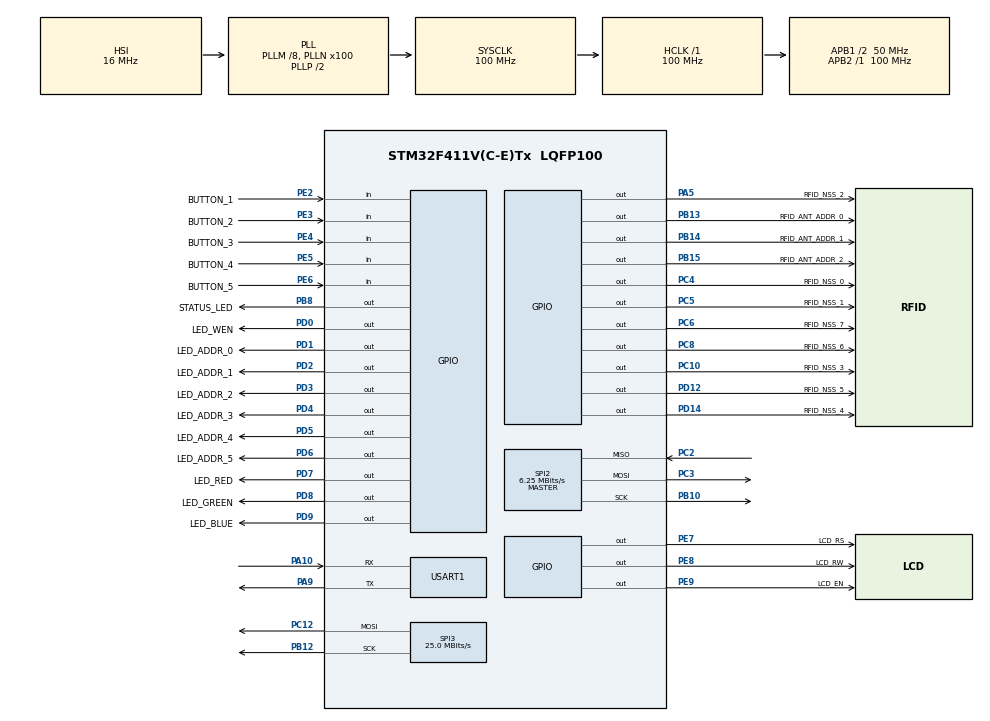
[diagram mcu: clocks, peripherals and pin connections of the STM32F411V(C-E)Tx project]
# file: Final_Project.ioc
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Mcu.Family=STM32F4
Mcu.Name=STM32F411V(C-E)Tx
Mcu.Package=LQFP100
NVIC.PriorityGroup=NVIC_PRIORITYGROUP_4
NVIC.SPI2_IRQn=true\:0\:0\:false\:false\:true\:true
NVIC.SPI3_IRQn=true\:0\:0\:false\:false\:true\:true
NVIC.TIM4_IRQn=true\:0\:0\:false\:false\:true\:true
NVIC.USART1_IRQn=true\:0\:0\:false\:false\:true\:true
PA10.Mode=Asynchronous
PA10.Signal=USART1_RX
PA5.GPIO_Label=RFID_NSS_2
PA5.Signal=GPIO_Output
PA9.Mode=Asynchronous
PA9.Signal=USART1_TX
PB10.Mode=Full_Duplex_Master
PB10.Signal=SPI2_SCK
PB12.Mode=TX_Only_Simplex_Unidirect_Master
PB12.Signal=SPI3_SCK
PB13.GPIO_Label=RFID_ANT_ADDR_0
PB13.Signal=GPIO_Output
PB14.GPIO_Label=RFID_ANT_ADDR_1
PB14.Signal=GPIO_Output
PB15.GPIO_Label=RFID_ANT_ADDR_2
PB15.Signal=GPIO_Output
PB8.GPIO_Label=STATUS_LED
PB8.PinState=GPIO_PIN_SET
PB8.Signal=GPIO_Output
PC10.GPIO_Label=RFID_NSS_3
PC10.Signal=GPIO_Output
PC12.Mode=TX_Only_Simplex_Unidirect_Master
PC12.Signal=SPI3_MOSI
PC2.Mode=Full_Duplex_Master
PC2.Signal=SPI2_MISO
PC3.Mode=Full_Duplex_Master
PC3.Signal=SPI2_MOSI
PC4.GPIO_Label=RFID_NSS_0
PC4.Signal=GPIO_Output
PC5.GPIO_Label=RFID_NSS_1
PC5.Signal=GPIO_Output
PC6.GPIO_Label=RFID_NSS_7
PC6.Signal=GPIO_Output
PC8.GPIO_Label=RFID_NSS_6
PC8.Signal=GPIO_Output
PD0.GPIO_Label=LED_WEN
PD0.Signal=GPIO_Output
PD1.GPIO_Label=LED_ADDR_0
PD1.Signal=GPIO_Output
PD12.GPIO_Label=RFID_NSS_5
PD12.Signal=GPIO_Output
PD14.GPIO_Label=RFID_NSS_4
PD14.Signal=GPIO_Output
PD2.GPIO_Label=LED_ADDR_1
PD2.Signal=GPIO_Output
PD3.GPIO_Label=LED_ADDR_2
PD3.Signal=GPIO_Output
PD4.GPIO_Label=LED_ADDR_3
PD4.Signal=GPIO_Output
PD5.GPIO_Label=LED_ADDR_4
PD5.Signal=GPIO_Output
PD6.GPIO_Label=LED_ADDR_5
PD6.Signal=GPIO_Output
PD7.GPIO_Label=LED_RED
PD7.Signal=GPIO_Output
PD8.GPIO_Label=LED_GREEN
PD8.Signal=GPIO_Output
PD9.GPIO_Label=LED_BLUE
PD9.Signal=GPIO_Output
PE2.GPIO_Label=BUTTON_1
PE2.GPIO_Mode=GPIO_MODE_INPUT
PE2.GPIO_PuPd=GPIO_PULLUP
PE2.Signal=GPIO_Input
PE3.GPIO_Label=BUTTON_2
PE3.GPIO_Mode=GPIO_MODE_INPUT
PE3.GPIO_PuPd=GPIO_PULLUP
PE3.Signal=GPIO_Input
PE4.GPIO_Label=BUTTON_3
PE4.GPIO_Mode=GPIO_MODE_INPUT
PE4.GPIO_PuPd=GPIO_PULLUP
PE4.Signal=GPIO_Input
PE5.GPIO_Label=BUTTON_4
PE5.GPIO_Mode=GPIO_MODE_INPUT
PE5.GPIO_PuPd=GPIO_PULLUP
PE5.Signal=GPIO_Input
PE6.GPIO_Label=BUTTON_5
PE6.GPIO_Mode=GPIO_MODE_INPUT
PE6.GPIO_PuPd=GPIO_PULLUP
PE6.Signal=GPIO_Input
PE7.GPIO_Label=LCD_RS
PE7.PinState=GPIO_PIN_SET
PE7.Signal=GPIO_Output
PE8.GPIO_Label=LCD_RW
PE8.PinState=GPIO_PIN_SET
PE8.Signal=GPIO_Output
PE9.GPIO_Label=LCD_EN
PE9.PinState=GPIO_PIN_SET
PE9.Signal=GPIO_Output
ProjectManager.HeapSize=0x200
ProjectManager.StackSize=0x400
ProjectManager.TargetToolchain=SW4STM32
RCC.48MHZClocksFreq_Value=50000000
RCC.AHBFreq_Value=100000000
RCC.APB1CLKDivider=RCC_HCLK_DIV2
RCC.APB1Freq_Value=50000000
RCC.APB1TimFreq_Value=100000000
RCC.APB2Freq_Value=100000000
RCC.APB2TimFreq_Value=100000000
RCC.CortexFreq_Value=100000000
RCC.HCLKFreq_Value=100000000
RCC.HSE_VALUE=25000000
RCC.HSI_VALUE=16000000
RCC.LSE_VALUE=32768
RCC.PLLM=8
RCC.PLLN=100
RCC.SYSCLKFreq_VALUE=100000000
RCC.SYSCLKSource=RCC_SYSCLKSOURCE_PLLCLK
RCC.VCOOutputFreq_Value=200000000
SPI2.BaudRatePrescaler=SPI_BAUDRATEPRESCALER_8
SPI2.CalculateBaudRate=6.25 MBits/s
SPI2.Direction=SPI_DIRECTION_2LINES
SPI2.Mode=SPI_MODE_MASTER
SPI2.VirtualType=VM_MASTER
SPI3.BaudRatePrescaler=SPI_BAUDRATEPRESCALER_2
SPI3.CalculateBaudRate=25.0 MBits/s
SPI3.Direction=SPI_DIRECTION_2LINES
SPI3.FirstBit=SPI_FIRSTBIT_MSB
SPI3.Mode=SPI_MODE_MASTER
SPI3.VirtualType=VM_MASTER
TIM4.Period=1000
TIM4.Prescaler=10000
USART1.VirtualMode=VM_ASYNC
VP_RTC_VS_RTC_Activate.Mode=RTC_Enabled
VP_TIM4_VS_ClockSourceINT.Mode=Internal
board=custom

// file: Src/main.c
/* USER CODE BEGIN Header */
/*   MIT License
*
*    Copyright (c) 2019 Timothy Pansino, Adam Behnke, Zachary Neumann, Mitchell Keeney
*
*    Permission is hereby granted, free of charge, to any person obtaining a copy
*    of this software and associated documentation files (the "Software"), to deal
*    in the Software without restriction, including without limitation the rights
*    to use, copy, modify, merge, publish, distribute, sublicense, and/or sell
*    copies of the Software, and to permit persons to whom the Software is
*    furnished to do so, subject to the following conditions:
*
*    The above copyright notice and this permission notice shall be included in all
*    copies or substantial portions of the Software.
*
*    THE SOFTWARE IS PROVIDED "AS IS", WITHOUT WARRANTY OF ANY KIND, EXPRESS OR
*    IMPLIED, INCLUDING BUT NOT LIMITED TO THE WARRANTIES OF MERCHANTABILITY,
*    FITNESS FOR A PARTICULAR PURPOSE AND NONINFRINGEMENT. IN NO EVENT SHALL THE
*    AUTHORS OR COPYRIGHT HOLDERS BE LIABLE FOR ANY CLAIM, DAMAGES OR OTHER
*    LIABILITY, WHETHER IN AN ACTION OF CONTRACT, TORT OR OTHERWISE, ARISING FROM,
*    OUT OF OR IN CONNECTION WITH THE SOFTWARE OR THE USE OR OTHER DEALINGS IN THE
*    SOFTWARE.
*/
/**
  ******************************************************************************
  * @file           : main.c
  * @brief          : Main program body
  ******************************************************************************
  ** This notice applies to any and all portions of this file
  * that are not between comment pairs USER CODE BEGIN and
  * USER CODE END. Other portions of this file, whether
  * inserted by the user or by software development tools
  * are owned by their respective copyright owners.
  *
  * COPYRIGHT(c) 2019 STMicroelectronics
  *
  * Redistribution and use in source and binary forms, with or without modification,
  * are permitted provided that the following conditions are met:
  *   1. Redistributions of source code must retain the above copyright notice,
  *      this list of conditions and the following disclaimer.
  *   2. Redistributions in binary form must reproduce the above copyright notice,
  *      this list of conditions and the following disclaimer in the documentation
  *      and/or other materials provided with the distribution.
  *   3. Neither the name of STMicroelectronics nor the names of its contributors
  *      may be used to endorse or promote products derived from this software
  *      without specific prior written permission.
  *
  * THIS SOFTWARE IS PROVIDED BY THE COPYRIGHT HOLDERS AND CONTRIBUTORS "AS IS"
  * AND ANY EXPRESS OR IMPLIED WARRANTIES, INCLUDING, BUT NOT LIMITED TO, THE
  * IMPLIED WARRANTIES OF MERCHANTABILITY AND FITNESS FOR A PARTICULAR PURPOSE ARE
  * DISCLAIMED. IN NO EVENT SHALL THE COPYRIGHT HOLDER OR CONTRIBUTORS BE LIABLE
  * FOR ANY DIRECT, INDIRECT, INCIDENTAL, SPECIAL, EXEMPLARY, OR CONSEQUENTIAL
  * DAMAGES (INCLUDING, BUT NOT LIMITED TO, PROCUREMENT OF SUBSTITUTE GOODS OR
  * SERVICES; LOSS OF USE, DATA, OR PROFITS; OR BUSINESS INTERRUPTION) HOWEVER
  * CAUSED AND ON ANY THEORY OF LIABILITY, WHETHER IN CONTRACT, STRICT LIABILITY,
  * OR TORT (INCLUDING NEGLIGENCE OR OTHERWISE) ARISING IN ANY WAY OUT OF THE USE
  * OF THIS SOFTWARE, EVEN IF ADVISED OF THE POSSIBILITY OF SUCH DAMAGE.
  *
  ******************************************************************************
  */
/* USER CODE END Header */

#include "main.h"

/* USER CODE BEGIN Includes */
#include <stdarg.h>
#include <string.h>
#include "mfrc630.h"
#include "mfrc630_def.h"

#include "pieces.h"
#include "chess.h"
#include "micro.h"
#include "debug.h"
#include "drivers.h"

#include "ai.h"
#include "defs.h"
#include "protos.h"
#include "data.h"
/* USER CODE END Includes */

/* USER CODE BEGIN PD */

// Handles
#define		RFID_SPI_HANDLE             hspi2
#define		LCD_SPI_HANDLE              hspi3
#define 	UART_HANDLE                 huart1
#define 	TIMER_HANDLE                htim4

// Pins
#define     STATUS_LED                  GPIOB, 	   GPIO_PIN_8
#define     BUTTON_1                    GPIOE,     GPIO_PIN_2
#define     BUTTON_2                    GPIOE,     GPIO_PIN_3
#define     BUTTON_3                    GPIOE,     GPIO_PIN_4
#define     BUTTON_4                    GPIOE,     GPIO_PIN_5
#define     BUTTON_5                    GPIOE,     GPIO_PIN_6
#define     LCD_RS                      GPIOE,     GPIO_PIN_7
#define     LCD_RW                      GPIOE,     GPIO_PIN_8
#define     LCD_ENABLE                  GPIOE,     GPIO_PIN_9
#define     LED_ADDRESS_0               GPIOD,     GPIO_PIN_1
#define     LED_ADDRESS_1               GPIOD,     GPIO_PIN_2
#define     LED_ADDRESS_2               GPIOD,     GPIO_PIN_3
#define     LED_ADDRESS_3               GPIOD,     GPIO_PIN_4
#define     LED_ADDRESS_4               GPIOD,     GPIO_PIN_5
#define     LED_ADDRESS_5               GPIOD,     GPIO_PIN_6
#define     LED_BLUE                    GPIOD,     GPIO_PIN_9
#define     LED_GREEN                   GPIOD,     GPIO_PIN_8
#define     LED_RED                     GPIOD,     GPIO_PIN_7
#define     LED_ENABLE                  GPIOD,     GPIO_PIN_0
#define     RFID_ANTENNA_ADDRESS_0     	GPIOB,     GPIO_PIN_13
#define     RFID_ANTENNA_ADDRESS_1     	GPIOB,     GPIO_PIN_14
#define     RFID_ANTENNA_ADDRESS_2     	GPIOB,     GPIO_PIN_15
#define     RFID_SPI2_NSS_0             GPIOC,     GPIO_PIN_4
#define     RFID_SPI2_NSS_1             GPIOC,     GPIO_PIN_5
#define     RFID_SPI2_NSS_2             GPIOA, 	   GPIO_PIN_5
#define     RFID_SPI2_NSS_3             GPIOC, 	   GPIO_PIN_10
#define     RFID_SPI2_NSS_4             GPIOD,     GPIO_PIN_14
#define     RFID_SPI2_NSS_5             GPIOD,     GPIO_PIN_12
#define     RFID_SPI2_NSS_6             GPIOC,     GPIO_PIN_8
#define     RFID_SPI2_NSS_7             GPIOC,     GPIO_PIN_6

// Constants
#define 	  DISABLE_PRINT               1
#define		  LED_DEMO					  1
#define 	  SKIP_SETUP_HELP			  0

/* USER CODE END PD */

RTC_HandleTypeDef hrtc;

SPI_HandleTypeDef hspi2;
SPI_HandleTypeDef hspi3;

TIM_HandleTypeDef htim4;

UART_HandleTypeDef huart1;

/* USER CODE BEGIN PV */
// UART variables
char receiveBuffer[100];
char transmitBuffer[100];
int dataReceivedFlag = 0;
uint8_t receivedData = 0;
int currentLocation = 0;
char* hello_world = "Hello World!\n";
char* newlineStr = NEWLINE_STR;
char* backSpace = BACKSPACE_STR;
char prevMove[100];

// Chess variables
int rfidReaderAddress = 0;
int rfidAntennaAddress = 0;
C colors;
B curBoard;
B prevBoard;
B prevAIBoard;
M curMoves;
Move curMove;
Piece tempPiece;
int check = 0;
int status = 10;
int curSide = White;
int aiSide = 0;
int curTime = 0;
int aiMovedFlag = 0;
char aiMove[10];

// Buttons
int prevButton[5] = {0};
int curButton[5] = {0};
int buttonFlag[5] = {0};
int resetFlag = 1;

// LCD Menus
char* playerMenu[] = {" Select Players ", "1 Player", "2 Player"};
char* sideMenu[] = {"Select Your Side", "White", "Black"};
char* pawnPromoteMenu[] = {"Promote Pawn", "Queen", "Knight", "Rook", "Bishop"};

/* USER CODE END PV */

void SystemClock_Config(void);
static void MX_GPIO_Init(void);
static void MX_RTC_Init(void);
static void MX_USART1_UART_Init(void);
static void MX_SPI3_Init(void);
static void MX_SPI2_Init(void);
static void MX_TIM4_Init(void);
/* USER CODE BEGIN PFP */
void HAL_UART_RxCpltCallback(UART_HandleTypeDef * huart);
char * receiveString(void);
void transmitString(char *);
static void writeLCDMessage(char* lcd_upr, char* lcd_low);
static void writeLCDInstruction(uint8_t instru);
void LCDInit(void);
void RFIDInit(void);
void LEDInit(void);
void buttonInit(void);
void chessInit(char aiSide);
int chessMain(void);
void mainMenu(void);
int checkButtons(void);
void moveToLCD(void);
void moveStrToLCD(char* s);
void strToMenu(char* s, char* d);
void boardSetup(void);
/* USER CODE END PFP */

int main(void)
{

  /* MCU Configuration--------------------------------------------------------*/

  /* Reset of all peripherals, Initializes the Flash interface and the Systick. */
  HAL_Init();

  /* Configure the system clock */
  SystemClock_Config();

  /* Initialize all configured peripherals */
  MX_GPIO_Init();
  MX_RTC_Init();
  MX_USART1_UART_Init();
  MX_SPI3_Init();
  MX_SPI2_Init();
  MX_TIM4_Init();
  /* USER CODE BEGIN 2 */
  HAL_Delay(1000);

	// Initialize Pins
	HAL_GPIO_WritePin(STATUS_LED, 0);
	HAL_GPIO_WritePin(RFID_SPI2_NSS_0, 1);
	HAL_GPIO_WritePin(RFID_SPI2_NSS_1, 1);
	HAL_GPIO_WritePin(RFID_SPI2_NSS_2, 1);
	HAL_GPIO_WritePin(RFID_SPI2_NSS_3, 1);
	HAL_GPIO_WritePin(RFID_SPI2_NSS_4, 1);
	HAL_GPIO_WritePin(RFID_SPI2_NSS_5, 1);
	HAL_GPIO_WritePin(RFID_SPI2_NSS_6, 1);
	HAL_GPIO_WritePin(RFID_SPI2_NSS_7, 1);

	// Init Uart
	Print(CLEAR_TERMINAL);
	Print("UART Initialized.\n");

	// Init Buttons
	buttonInit();
	Print("Buttons Initialized.\n");

	// Init LCD
	LCDInit();
	Print("LCD Initialized\n");

	// Setup RFID Readers
	RFIDInit();
	Print("RFID Readers Initialized\n");

	// Setup LEDs
	LEDInit();
	Print("LEDs Initialized\n");

	// Chess Initialization
	chessInit(0);
	Print("Chess Control and AI Initialized.\n");

	// Setup Board State
	blankBoard(curBoard);

	// Start Timer
	HAL_TIM_Base_Start_IT(&TIMER_HANDLE);

  /* USER CODE END 2 */

  /* Infinite loop */
		while (1)
		{

    /* USER CODE BEGIN 3 */
		if (resetFlag) {
			resetFlag = 0;
			blankColors(colors);
			updateColors(colors);

			mainMenu();
			buttonInit();
			boardSetup();
			moveToLCD();
		}

		// Main Loop
		RFIDInit();
		Print("Beginning Scan...\n");
		HAL_GPIO_WritePin(STATUS_LED, 1);
		updateBoard(curBoard);
		HAL_GPIO_WritePin(STATUS_LED, 0);
		Print("Scan Complete.\n");
		Print(CLEAR_TERMINAL);
		printBoard(curBoard);
		chessMain();
		printColors(colors);
		updateColors(colors);
  }
  /* USER CODE END 3 */
}

void SystemClock_Config(void)
{
  RCC_OscInitTypeDef RCC_OscInitStruct = {0};
  RCC_ClkInitTypeDef RCC_ClkInitStruct = {0};
  RCC_PeriphCLKInitTypeDef PeriphClkInitStruct = {0};

  /**Configure the main internal regulator output voltage
  */
  __HAL_RCC_PWR_CLK_ENABLE();
  __HAL_PWR_VOLTAGESCALING_CONFIG(PWR_REGULATOR_VOLTAGE_SCALE1);
  /**Initializes the CPU, AHB and APB busses clocks
  */
  RCC_OscInitStruct.OscillatorType = RCC_OSCILLATORTYPE_HSI|RCC_OSCILLATORTYPE_LSI;
  RCC_OscInitStruct.HSIState = RCC_HSI_ON;
  RCC_OscInitStruct.HSICalibrationValue = RCC_HSICALIBRATION_DEFAULT;
  RCC_OscInitStruct.LSIState = RCC_LSI_ON;
  RCC_OscInitStruct.PLL.PLLState = RCC_PLL_ON;
  RCC_OscInitStruct.PLL.PLLSource = RCC_PLLSOURCE_HSI;
  RCC_OscInitStruct.PLL.PLLM = 8;
  RCC_OscInitStruct.PLL.PLLN = 100;
  RCC_OscInitStruct.PLL.PLLP = RCC_PLLP_DIV2;
  RCC_OscInitStruct.PLL.PLLQ = 4;
  if (HAL_RCC_OscConfig(&RCC_OscInitStruct) != HAL_OK)
  {
    Error_Handler();
  }
  /**Initializes the CPU, AHB and APB busses clocks
  */
  RCC_ClkInitStruct.ClockType = RCC_CLOCKTYPE_HCLK|RCC_CLOCKTYPE_SYSCLK
                              |RCC_CLOCKTYPE_PCLK1|RCC_CLOCKTYPE_PCLK2;
  RCC_ClkInitStruct.SYSCLKSource = RCC_SYSCLKSOURCE_PLLCLK;
  RCC_ClkInitStruct.AHBCLKDivider = RCC_SYSCLK_DIV1;
  RCC_ClkInitStruct.APB1CLKDivider = RCC_HCLK_DIV2;
  RCC_ClkInitStruct.APB2CLKDivider = RCC_HCLK_DIV1;

  if (HAL_RCC_ClockConfig(&RCC_ClkInitStruct, FLASH_LATENCY_3) != HAL_OK)
  {
    Error_Handler();
  }
  PeriphClkInitStruct.PeriphClockSelection = RCC_PERIPHCLK_RTC;
  PeriphClkInitStruct.RTCClockSelection = RCC_RTCCLKSOURCE_LSI;
  if (HAL_RCCEx_PeriphCLKConfig(&PeriphClkInitStruct) != HAL_OK)
  {
    Error_Handler();
  }
}

static void MX_RTC_Init(void)
{

  /**Initialize RTC Only
  */
  hrtc.Instance = RTC;
  hrtc.Init.HourFormat = RTC_HOURFORMAT_24;
  hrtc.Init.AsynchPrediv = 127;
  hrtc.Init.SynchPrediv = 255;
  hrtc.Init.OutPut = RTC_OUTPUT_DISABLE;
  hrtc.Init.OutPutPolarity = RTC_OUTPUT_POLARITY_HIGH;
  hrtc.Init.OutPutType = RTC_OUTPUT_TYPE_OPENDRAIN;
  if (HAL_RTC_Init(&hrtc) != HAL_OK)
  {
    Error_Handler();
  }

}

static void MX_SPI2_Init(void)
{

  /* SPI2 parameter configuration*/
  hspi2.Instance = SPI2;
  hspi2.Init.Mode = SPI_MODE_MASTER;
  hspi2.Init.Direction = SPI_DIRECTION_2LINES;
  hspi2.Init.DataSize = SPI_DATASIZE_8BIT;
  hspi2.Init.CLKPolarity = SPI_POLARITY_LOW;
  hspi2.Init.CLKPhase = SPI_PHASE_1EDGE;
  hspi2.Init.NSS = SPI_NSS_SOFT;
  hspi2.Init.BaudRatePrescaler = SPI_BAUDRATEPRESCALER_8;
  hspi2.Init.FirstBit = SPI_FIRSTBIT_MSB;
  hspi2.Init.TIMode = SPI_TIMODE_DISABLE;
  hspi2.Init.CRCCalculation = SPI_CRCCALCULATION_DISABLE;
  hspi2.Init.CRCPolynomial = 10;
  if (HAL_SPI_Init(&hspi2) != HAL_OK)
  {
    Error_Handler();
  }

}

static void MX_SPI3_Init(void)
{

  /* SPI3 parameter configuration*/
  hspi3.Instance = SPI3;
  hspi3.Init.Mode = SPI_MODE_MASTER;
  hspi3.Init.Direction = SPI_DIRECTION_2LINES;
  hspi3.Init.DataSize = SPI_DATASIZE_8BIT;
  hspi3.Init.CLKPolarity = SPI_POLARITY_LOW;
  hspi3.Init.CLKPhase = SPI_PHASE_1EDGE;
  hspi3.Init.NSS = SPI_NSS_SOFT;
  hspi3.Init.BaudRatePrescaler = SPI_BAUDRATEPRESCALER_2;
  hspi3.Init.FirstBit = SPI_FIRSTBIT_MSB;
  hspi3.Init.TIMode = SPI_TIMODE_DISABLE;
  hspi3.Init.CRCCalculation = SPI_CRCCALCULATION_DISABLE;
  hspi3.Init.CRCPolynomial = 10;
  if (HAL_SPI_Init(&hspi3) != HAL_OK)
  {
    Error_Handler();
  }

}

static void MX_TIM4_Init(void)
{

  TIM_ClockConfigTypeDef sClockSourceConfig = {0};
  TIM_MasterConfigTypeDef sMasterConfig = {0};

  htim4.Instance = TIM4;
  htim4.Init.Prescaler = 10000;
  htim4.Init.CounterMode = TIM_COUNTERMODE_UP;
  htim4.Init.Period = 1000;
  htim4.Init.ClockDivision = TIM_CLOCKDIVISION_DIV1;
  if (HAL_TIM_Base_Init(&htim4) != HAL_OK)
  {
    Error_Handler();
  }
  sClockSourceConfig.ClockSource = TIM_CLOCKSOURCE_INTERNAL;
  if (HAL_TIM_ConfigClockSource(&htim4, &sClockSourceConfig) != HAL_OK)
  {
    Error_Handler();
  }
  sMasterConfig.MasterOutputTrigger = TIM_TRGO_RESET;
  sMasterConfig.MasterSlaveMode = TIM_MASTERSLAVEMODE_DISABLE;
  if (HAL_TIMEx_MasterConfigSynchronization(&htim4, &sMasterConfig) != HAL_OK)
  {
    Error_Handler();
  }

}

static void MX_USART1_UART_Init(void)
{

  huart1.Instance = USART1;
  huart1.Init.BaudRate = 115200;
  huart1.Init.WordLength = UART_WORDLENGTH_8B;
  huart1.Init.StopBits = UART_STOPBITS_1;
  huart1.Init.Parity = UART_PARITY_NONE;
  huart1.Init.Mode = UART_MODE_TX_RX;
  huart1.Init.HwFlowCtl = UART_HWCONTROL_NONE;
  huart1.Init.OverSampling = UART_OVERSAMPLING_16;
  if (HAL_UART_Init(&huart1) != HAL_OK)
  {
    Error_Handler();
  }

}

static void MX_GPIO_Init(void)
{
  GPIO_InitTypeDef GPIO_InitStruct = {0};

  /* GPIO Ports Clock Enable */
  __HAL_RCC_GPIOE_CLK_ENABLE();
  __HAL_RCC_GPIOC_CLK_ENABLE();
  __HAL_RCC_GPIOA_CLK_ENABLE();
  __HAL_RCC_GPIOB_CLK_ENABLE();
  __HAL_RCC_GPIOD_CLK_ENABLE();

  /*Configure GPIO pin Output Level */
  HAL_GPIO_WritePin(RFID_NSS_2_GPIO_Port, RFID_NSS_2_Pin, GPIO_PIN_RESET);

  /*Configure GPIO pin Output Level */
  HAL_GPIO_WritePin(GPIOC, RFID_NSS_0_Pin|RFID_NSS_1_Pin|RFID_NSS_7_Pin|RFID_NSS_6_Pin
                          |RFID_NSS_3_Pin, GPIO_PIN_RESET);

  /*Configure GPIO pin Output Level */
  HAL_GPIO_WritePin(GPIOE, LCD_RS_Pin|LCD_RW_Pin|LCD_EN_Pin, GPIO_PIN_SET);

  /*Configure GPIO pin Output Level */
  HAL_GPIO_WritePin(GPIOB, RFID_ANT_ADDR_0_Pin|RFID_ANT_ADDR_1_Pin|RFID_ANT_ADDR_2_Pin, GPIO_PIN_RESET);

  /*Configure GPIO pin Output Level */
  HAL_GPIO_WritePin(GPIOD, LED_GREEN_Pin|LED_BLUE_Pin|RFID_NSS_5_Pin|RFID_NSS_4_Pin
                          |LED_WEN_Pin|LED_ADDR_0_Pin|LED_ADDR_1_Pin|LED_ADDR_2_Pin
                          |LED_ADDR_3_Pin|LED_ADDR_4_Pin|LED_ADDR_5_Pin|LED_RED_Pin, GPIO_PIN_RESET);

  /*Configure GPIO pin Output Level */
  HAL_GPIO_WritePin(STATUS_LED_GPIO_Port, STATUS_LED_Pin, GPIO_PIN_SET);

  /*Configure GPIO pins : BUTTON_1_Pin BUTTON_2_Pin BUTTON_3_Pin BUTTON_4_Pin
                           BUTTON_5_Pin */
  GPIO_InitStruct.Pin = BUTTON_1_Pin|BUTTON_2_Pin|BUTTON_3_Pin|BUTTON_4_Pin
                          |BUTTON_5_Pin;
  GPIO_InitStruct.Mode = GPIO_MODE_INPUT;
  GPIO_InitStruct.Pull = GPIO_PULLUP;
  HAL_GPIO_Init(GPIOE, &GPIO_InitStruct);

  /*Configure GPIO pin : RFID_NSS_2_Pin */
  GPIO_InitStruct.Pin = RFID_NSS_2_Pin;
  GPIO_InitStruct.Mode = GPIO_MODE_OUTPUT_PP;
  GPIO_InitStruct.Pull = GPIO_NOPULL;
  GPIO_InitStruct.Speed = GPIO_SPEED_FREQ_LOW;
  HAL_GPIO_Init(RFID_NSS_2_GPIO_Port, &GPIO_InitStruct);

  /*Configure GPIO pins : RFID_NSS_0_Pin RFID_NSS_1_Pin RFID_NSS_7_Pin RFID_NSS_6_Pin
                           RFID_NSS_3_Pin */
  GPIO_InitStruct.Pin = RFID_NSS_0_Pin|RFID_NSS_1_Pin|RFID_NSS_7_Pin|RFID_NSS_6_Pin
                          |RFID_NSS_3_Pin;
  GPIO_InitStruct.Mode = GPIO_MODE_OUTPUT_PP;
  GPIO_InitStruct.Pull = GPIO_NOPULL;
  GPIO_InitStruct.Speed = GPIO_SPEED_FREQ_LOW;
  HAL_GPIO_Init(GPIOC, &GPIO_InitStruct);

  /*Configure GPIO pins : LCD_RS_Pin LCD_RW_Pin LCD_EN_Pin */
  GPIO_InitStruct.Pin = LCD_RS_Pin|LCD_RW_Pin|LCD_EN_Pin;
  GPIO_InitStruct.Mode = GPIO_MODE_OUTPUT_PP;
  GPIO_InitStruct.Pull = GPIO_NOPULL;
  GPIO_InitStruct.Speed = GPIO_SPEED_FREQ_LOW;
  HAL_GPIO_Init(GPIOE, &GPIO_InitStruct);

  /*Configure GPIO pins : RFID_ANT_ADDR_0_Pin RFID_ANT_ADDR_1_Pin RFID_ANT_ADDR_2_Pin STATUS_LED_Pin */
  GPIO_InitStruct.Pin = RFID_ANT_ADDR_0_Pin|RFID_ANT_ADDR_1_Pin|RFID_ANT_ADDR_2_Pin|STATUS_LED_Pin;
  GPIO_InitStruct.Mode = GPIO_MODE_OUTPUT_PP;
  GPIO_InitStruct.Pull = GPIO_NOPULL;
  GPIO_InitStruct.Speed = GPIO_SPEED_FREQ_LOW;
  HAL_GPIO_Init(GPIOB, &GPIO_InitStruct);

  /*Configure GPIO pins : LED_GREEN_Pin LED_BLUE_Pin RFID_NSS_5_Pin RFID_NSS_4_Pin
                           LED_WEN_Pin LED_ADDR_0_Pin LED_ADDR_1_Pin LED_ADDR_2_Pin
                           LED_ADDR_3_Pin LED_ADDR_4_Pin LED_ADDR_5_Pin LED_RED_Pin */
  GPIO_InitStruct.Pin = LED_GREEN_Pin|LED_BLUE_Pin|RFID_NSS_5_Pin|RFID_NSS_4_Pin
                          |LED_WEN_Pin|LED_ADDR_0_Pin|LED_ADDR_1_Pin|LED_ADDR_2_Pin
                          |LED_ADDR_3_Pin|LED_ADDR_4_Pin|LED_ADDR_5_Pin|LED_RED_Pin;
  GPIO_InitStruct.Mode = GPIO_MODE_OUTPUT_PP;
  GPIO_InitStruct.Pull = GPIO_NOPULL;
  GPIO_InitStruct.Speed = GPIO_SPEED_FREQ_LOW;
  HAL_GPIO_Init(GPIOD, &GPIO_InitStruct);

}

/* USER CODE BEGIN 4 */
void chessInit(char input) {
    char aiParam = 0;
    switch (input) {
    case White:
        aiParam = LIGHT;
        aiSide = Black;
        break;
    case Black:
        aiParam = DARK;
        aiSide = White;
        break;
    default:
        aiParam = EMPTY;
        aiSide = 0;
        break;
    }
    defaultBoard(curBoard);
    defaultBoard(prevBoard);
    blankColors(colors);
    aiInit(aiParam);
    curSide = White;
    for (int i = 0; i < 17; i++) prevMove[i] = '\0';
}

int chessMain(void) {
	blankColors(colors);

	Print("Side: %d\n", curSide);
	status = gameStatus(prevBoard, curSide);
	if (status == 2) {
      writeLCDMessage("   Stalemate    ", "  It's a draw.  ");
	  for (int j = 0; j < 4; j++) {
	    for (int i = 0; i < 8; i++) {
	      colors[i][j] = COLOR_RED;
	    }
	  }
	  for (int j = 4; j < 8; j++) {
	    for (int i = 0; i < 8; i++) {
	      colors[i][j] = COLOR_RED;
	    }
	  }
	  return status;
	}
	else if (status == 3) {
	  if (curSide == Black) {
		writeLCDMessage("   Checkmate    ", "  White Wins!   ");
	    for (int j = 0; j < 4; j++) {
	      for (int i = 0; i < 8; i++) {
	        colors[i][j] = COLOR_GREEN;
	      }
	    }
	    for (int j = 4; j < 8; j++) {
	      for (int i = 0; i < 8; i++) {
	        colors[i][j] = COLOR_RED;
	      }
	    }
	  }
	  else if (curSide == White) {
		writeLCDMessage("   Checkmate    ", "  Black Wins!   ");
	    for (int j = 0; j < 4; j++) {
	      for (int i = 0; i < 8; i++) {
	        colors[i][j] = COLOR_RED;
	      }
	    }
	    for (int j = 4; j < 8; j++) {
	      for (int i = 0; i < 8; i++) {
	        colors[i][j] = COLOR_GREEN;
	      }
	    }
	  }
		updateColors(colors);
		return status;
	}

    if (curSide == aiSide) { // AI Turn
        printTurn(curSide);
        if (aiMovedFlag) {
        	M diff1;
        	M diff2;
        	M diff3;

        	if (!diffBoards(curBoard, prevBoard, diff2)) {
				curSide = switchSide(curSide);
				aiMovedFlag = 0;
				blankColors(colors);
				//moveToLCD();
				moveStrToLCD(aiMove);
        	}
        	else {
            	diffBoards(prevAIBoard, prevBoard, diff1);
            	diffBoards(curBoard, prevAIBoard, diff3);
        		for (int j = 0; j < 8; j++) {
            		for (int i = 0; i < 8; i++) {
            			if (diff2[i][j] && diff1[i][j] && !diff3[i][j]) colors[i][j] = COLOR_ACCEPTED;
            			else if (diff2[i][j]) colors[i][j] = COLOR_ERROR;
            			else colors[i][j] = COLOR_OFF;
            		}
        		}
        	}
        }
        else {
        	aiMove[0] = '\0';
			aiMakeMove(aiMove);
			//Print("USER SIDE: %d\n", computer_side);
			if (strlen(aiMove) > 0) {
				Print("AI Move: %s\n", aiMove);
				strToMove(aiMove, &curMove);
				copyBoard(prevAIBoard, prevBoard);
				makeMove(prevBoard, curMove);
				if (aiMove[4] != '\0') { // Pawn promote
					if ((aiMove[4] >= 'a') && (aiMove[4] <= 'z')) aiMove[4] += 'A' - 'a';
					prevBoard[curMove.destCol][curMove.destRow].promotion = aiMove[4];
					aiMove[4] = '\0';
				}
				aiMovedFlag = 1;
				moveStrToLCD(aiMove);
			}
			else {
				Print("Error: AI Failed to move.\n");
			}
        }
    }
    else { // Player Turn
        printTurn(curSide);
		parseState(curBoard, prevBoard, curSide, colors, &curMove);
		if (buttonFlag[0] || buttonFlag[1]) {
			if (((buttonFlag[0]) && (curSide == White)) || ((buttonFlag[1]) && (curSide == Black))) {
				if (verifyMove(prevBoard, &curMove)) {
					char promo = '\0';

					makeMove(prevBoard, curMove);
					if (((curMove.destRow == 0) || (curMove.destRow == 7))) { // Pawn Promotion
						if ((prevBoard[curMove.destCol][curMove.destRow].type == 'P') && (prevBoard[curMove.destCol][curMove.destRow].promotion == 0)) {
							promo = pawnPromote();
							prevBoard[curMove.destCol][curMove.destRow].promotion = promo;
						}
					}

					moveToStr(&curMove, aiMove, promo);
					Print("%d\n", aiMove);
					aiParseCommand(aiMove);
					curSide = switchSide(curSide);
					moveStrToLCD(aiMove);
				}
			}

			buttonFlag[0] = 0;
			buttonFlag[1] = 0;
		}
    }

	status = gameStatus(prevBoard, curSide);
    return status;
}

void HAL_UART_RxCpltCallback(UART_HandleTypeDef * huart) {
    /* Move data into buffer */
    receiveBuffer[currentLocation] = receivedData;

    /* Variable to keep track of location in buffer */
    if (((char)receiveBuffer[currentLocation] == '\n') || ((char)receiveBuffer[currentLocation] == '\r')) {
        HAL_UART_Transmit(huart, (uint8_t*) newlineStr, 2, TIMEOUT);
        dataReceivedFlag = 1;
        receiveBuffer[currentLocation] = '\0';
        currentLocation = 0;
    }
    else if (((char)receiveBuffer[currentLocation] == 0x08) || ((char)receiveBuffer[currentLocation] == 0x7F)) {
    	if (currentLocation > 0) {
        	Print(backSpace);
        	receiveBuffer[currentLocation] = '\0';
    		currentLocation--;
    	}
    }
    else {
        HAL_UART_Transmit(huart, &receivedData, 1, TIMEOUT);
        currentLocation++;
    }
}

char * receiveString(void) {
    /* Listen for input; print back to screen when fully received */
    while (!dataReceivedFlag) {
        HAL_UART_Receive_IT(&UART_HANDLE, &receivedData, 1);
    }
    dataReceivedFlag = 0;
    return receiveBuffer;
}

void transmitString(char * s) {
	//int size = 0;
	int i;

	//while(s[size] != '\0') size++;
	for (i = 0; s[i] != '\0'; i++) {
		if (s[i] == '\n') {
			HAL_UART_Transmit(&UART_HANDLE, (uint8_t*) newlineStr, 2, TIMEOUT);
		}
		else if (s[i] != '\r' && s[i] != '\0') {
			HAL_UART_Transmit(&UART_HANDLE, (uint8_t*) &s[i], 1, TIMEOUT);
		}
	}

	return;
}

void Print(const char* format, ...) {
  va_list args;

  if (DISABLE_PRINT) return;
  va_start(args, format);
  vsprintf(transmitBuffer, format, args);
  transmitString(transmitBuffer);
  va_end(args);

  return;
}

void Scan(char* s) {
	receiveString();
	strcpy(s, receiveBuffer);

	return;
}

static void writeLCDMessage(char* lcd_upr, char* lcd_low) {
	int size;
	uint8_t x;

    // Fake Function
    Print(CLEAR_TERMINAL);
    Print(lcd_upr);
    Print("\n");
    Print(lcd_low);
    Print("\n");
    //return;

    // Start Real Function
    //writeLCDInstruction(LCDCLR);
    writeLCDInstruction(CURMOV);
    writeLCDInstruction(LINE1);
    HAL_GPIO_WritePin (LCD_RS, GPIO_PIN_SET);

    size = strlen(lcd_upr);
    for (int i = 0; i < 16; i++)
    {
    	if (i >= size) x = ' ';
    	else x = lcd_upr[i];

        HAL_SPI_Transmit (&LCD_SPI_HANDLE, &x, 1, TIMEOUT);
        while(HAL_SPI_GetState(&LCD_SPI_HANDLE) != HAL_SPI_STATE_READY);
        HAL_GPIO_WritePin (LCD_ENABLE, GPIO_PIN_RESET);
        HAL_Delay(1);
        HAL_GPIO_WritePin (LCD_ENABLE, GPIO_PIN_SET);
        HAL_Delay(1);
        HAL_GPIO_WritePin (LCD_ENABLE, GPIO_PIN_RESET);
    }
    writeLCDInstruction(CURMOV);
    writeLCDInstruction(LINE2);
    HAL_GPIO_WritePin (LCD_RS, GPIO_PIN_SET);

    size = strlen(lcd_low);
    for (int i = 0; i < 16; i++)
    {
    	if (i >= size) x = ' ';
    	else x = lcd_low[i];

        HAL_SPI_Transmit (&LCD_SPI_HANDLE, &x, 1, TIMEOUT);
        while(HAL_SPI_GetState(&LCD_SPI_HANDLE) != HAL_SPI_STATE_READY);
        HAL_GPIO_WritePin (LCD_ENABLE, GPIO_PIN_RESET);
        HAL_Delay(1);
        HAL_GPIO_WritePin (LCD_ENABLE, GPIO_PIN_SET);
        HAL_Delay(1);
        HAL_GPIO_WritePin (LCD_ENABLE, GPIO_PIN_RESET);
    }
}

static void writeLCDInstruction(uint8_t instru) {
    HAL_GPIO_WritePin (LCD_RS, GPIO_PIN_RESET);
    HAL_SPI_Transmit (&LCD_SPI_HANDLE, &instru, 1, TIMEOUT);
    while(HAL_SPI_GetState(&LCD_SPI_HANDLE) != HAL_SPI_STATE_READY);
    HAL_GPIO_WritePin (LCD_ENABLE, GPIO_PIN_RESET);
    HAL_Delay(1);
    HAL_GPIO_WritePin (LCD_ENABLE, GPIO_PIN_SET);
    HAL_Delay(1);
    HAL_GPIO_WritePin (LCD_ENABLE, GPIO_PIN_RESET);
}

void LCDInit(void) {
	HAL_GPIO_WritePin (LCD_RS, GPIO_PIN_RESET);
	HAL_GPIO_WritePin (LCD_RW, GPIO_PIN_RESET);
	HAL_GPIO_WritePin (LCD_ENABLE, GPIO_PIN_RESET);
	writeLCDInstruction(LCDON);
	HAL_Delay(4);
	writeLCDInstruction(TWOLINE);
	writeLCDInstruction(LCDCLR);

	writeLCDMessage("Booting...", "Enjoy the lights");
}

void mfrc630_SPI_transfer(uint8_t* tx, uint8_t* rx, uint16_t len){
  switch(HAL_SPI_TransmitReceive(&RFID_SPI_HANDLE, tx, rx, len, TIMEOUT)){
      case HAL_OK:
        //Print("SPI OK\n");
        break;
      case HAL_TIMEOUT:
        Print("Timeout\n");
        break;
      case HAL_ERROR:
        Print("SPI Error (No idea, good luck)\n");
        Error_Handler();
        break;
      default:
        break;
  }
}

void mfrc630_SPI_select(void) {
  // Unselect all pins first
  mfrc630_SPI_unselect();

  // Set reader NSS pin
  if (rfidReaderAddress == 0) {
	HAL_GPIO_WritePin(RFID_SPI2_NSS_0, 0);
  }
  else if (rfidReaderAddress == 1) {
	HAL_GPIO_WritePin(RFID_SPI2_NSS_1, 0);
  }
  else if (rfidReaderAddress == 2) {
	HAL_GPIO_WritePin(RFID_SPI2_NSS_2, 0);
  }
  else if (rfidReaderAddress == 3) {
	HAL_GPIO_WritePin(RFID_SPI2_NSS_3, 0);
  }
  else if (rfidReaderAddress == 4) {
	HAL_GPIO_WritePin(RFID_SPI2_NSS_4, 0);
  }
  else if (rfidReaderAddress == 5) {
	HAL_GPIO_WritePin(RFID_SPI2_NSS_5, 0);
  }
  else if (rfidReaderAddress == 6) {
	HAL_GPIO_WritePin(RFID_SPI2_NSS_6, 0);
  }
  else if (rfidReaderAddress == 7) {
	HAL_GPIO_WritePin(RFID_SPI2_NSS_7, 0);
  }
}

void antennaSelect(void) {
  // Set antenna address
  HAL_GPIO_WritePin(RFID_ANTENNA_ADDRESS_2, (rfidAntennaAddress >> 2) & 1);
  HAL_GPIO_WritePin(RFID_ANTENNA_ADDRESS_1, (rfidAntennaAddress >> 1) & 1);
  HAL_GPIO_WritePin(RFID_ANTENNA_ADDRESS_0, rfidAntennaAddress & 1);
  HAL_Delay(1);
}

void mfrc630_SPI_unselect(void) {
	// Unselect all readers
	HAL_GPIO_WritePin(RFID_SPI2_NSS_0, 1);
	HAL_GPIO_WritePin(RFID_SPI2_NSS_1, 1);
	HAL_GPIO_WritePin(RFID_SPI2_NSS_2, 1);
	HAL_GPIO_WritePin(RFID_SPI2_NSS_3, 1);
	HAL_GPIO_WritePin(RFID_SPI2_NSS_4, 1);
	HAL_GPIO_WritePin(RFID_SPI2_NSS_5, 1);
	HAL_GPIO_WritePin(RFID_SPI2_NSS_6, 1);
	HAL_GPIO_WritePin(RFID_SPI2_NSS_7, 1);
}

void RFIDInit(void) {
  // Antenna Address Default
  rfidAntennaAddress = 0;
  antennaSelect();

  // Set the registers of the MFRC630 into the default.
  for (rfidReaderAddress = 0; rfidReaderAddress < 8; rfidReaderAddress++) {
	  mfrc630_SPI_select();

	  mfrc630_AN1102_recommended_registers(MFRC630_PROTO_ISO14443A_106_MILLER_MANCHESTER);
	  mfrc630_write_reg(0x28, 0x8E);
	  mfrc630_write_reg(0x29, 0x15);
	  mfrc630_write_reg(0x2A, 0x11);
	  mfrc630_write_reg(0x2B, 0x06);

	  mfrc630_SPI_unselect();
	  // Delay slightly
	  HAL_Delay(1);
  }

  return;
}

void buttonInit(void) {
	for (int i = 0; i < 5; i++) {
		buttonFlag[i] = 0;
		curButton[i] = 0;
		prevButton[i] = 0;
	}

	return;
}

void updateLED(int ledAddress, char color) {
	color = ~color;

	// Disable first
	HAL_GPIO_WritePin(LED_ENABLE, 0);

	// Set color
	HAL_GPIO_WritePin(LED_RED, color & 1);
	HAL_GPIO_WritePin(LED_BLUE, (color >> 1) & 1);
	HAL_GPIO_WritePin(LED_GREEN, (color >> 2) & 1);

	// Set address
	HAL_GPIO_WritePin(LED_ADDRESS_0, ledAddress & 1);
	HAL_GPIO_WritePin(LED_ADDRESS_1, (ledAddress >> 1) & 1);
	HAL_GPIO_WritePin(LED_ADDRESS_2, (ledAddress >> 2) & 1);
	HAL_GPIO_WritePin(LED_ADDRESS_3, ((ledAddress >> 3) & 1) ^ 1);
	HAL_GPIO_WritePin(LED_ADDRESS_4, (ledAddress >> 4) & 1);
	HAL_GPIO_WritePin(LED_ADDRESS_5, (ledAddress >> 5) & 1);

	// Clock in
	HAL_GPIO_WritePin(LED_ENABLE, 1);
	HAL_GPIO_WritePin(LED_ENABLE, 0);
}

void LEDInit(void) {
	C colors;

	HAL_Delay(10);
	blankColors(colors);
	updateColors(colors);
	if (LED_DEMO) {
		for (int c = 0; c <= 8; c++) {
			for (int j = 0; j < 8; j++) {
				for (int i = 0; i < 8; i++) {
					colors[i][j] = c;
				}
				updateColors(colors);
			}
			HAL_Delay(500);
		}
		blankColors(colors);
		updateColors(colors);
	}

	return;
}

void HAL_TIM_PeriodElapsedCallback(TIM_HandleTypeDef *htim) {
    if (htim->Instance == TIMER_HANDLE.Instance)
    {
    	curTime += 100;
    	if (curTime >= 10000) curTime = 0;

    	// Read current state
        curButton[0] = HAL_GPIO_ReadPin(BUTTON_1);
        curButton[1] = HAL_GPIO_ReadPin(BUTTON_2);
        curButton[2] = HAL_GPIO_ReadPin(BUTTON_3);
        curButton[3] = HAL_GPIO_ReadPin(BUTTON_4);
        curButton[4] = HAL_GPIO_ReadPin(BUTTON_5);

        // Set flags and previous state
        for (int i = 0; i < 5; i++) {
        	if ((curButton[i] == 1) && (prevButton[i] == 0)) {
        		buttonFlag[i] = 1;
        	}
        	prevButton[i] = curButton[i];
        }

        // Reset Flag - both left and right pushed at the same time
        if (curButton[4] && curButton[2] && (buttonFlag[2] || buttonFlag[4])) {
        	resetFlag = 1;
        }
    }
}

int get_ms(void) {
	// Wrapper function for AI time keeping
	return curTime;
}

int LCDMenu(char ** menu, int size) {
	char* message = menu[0];
	char select[100];
	int button = 0;
	int ptr = 1;

	buttonFlag[2] = 0;
	buttonFlag[3] = 0;
	buttonFlag[4] = 0;

	while (1) {
		strToMenu(menu[ptr], select);

		writeLCDMessage(message, select);
		button = checkButtons();

		if (button == 2) {
			break;
		}
		else if (button == 1) {
			ptr--;
			if (ptr <= 0) ptr = size;
		}
		else if (button == 3) {
			ptr++;
			if (ptr > size) ptr = 1;
		}
		//HAL_Delay(100);
	}

	return ptr;
}

void strToMenu(char* s, char* d) {
	int size = strlen(s);
	int i;

	if (size > 16) {
		return;
	}
	else if (size == 16) {
		strcpy(d, s);
	}
	else if (size == 15) {
		strcpy(d, s);
		d[15] = ' ';
		d[16] = '\0';
	}
	else {
		d[0] = '<';
		for (i = 1; i < ((16 - size) / 2); i++) {
			d[i] = ' ';
		}
		strcpy(&d[i], s);

		for (i = i + size; i < 16; i++) {
			d[i] = ' ';
		}
		d[15] = '>';
		d[16] = '\0';
	}

	return;
}

void mainMenu(void) {
	int players = 1;
	int playerSide = White;

	players = LCDMenu(playerMenu, 2);

	if (players == 2) {
		chessInit(0);
	}
	else {
		playerSide = LCDMenu(sideMenu, 2);
		chessInit(playerSide);
	}

	resetFlag = 0;
	return;
}

int checkButtons(void) {
	if (buttonFlag[3]) { 	  // ENTER
		buttonFlag[2] = 0;
		buttonFlag[3] = 0;
		buttonFlag[4] = 0;
		return 2;
	}
	else if (buttonFlag[2]) { // LEFT
		buttonFlag[2] = 0;
		buttonFlag[3] = 0;
		buttonFlag[4] = 0;
		return 1;
	}
	else if (buttonFlag[4]) { // RIGHT
		buttonFlag[2] = 0;
		buttonFlag[3] = 0;
		buttonFlag[4] = 0;
		return 3;
	}

	return 0;
}

void moveStrToLCD(char* s) {
	if (aiMovedFlag) {
		strcpy(prevMove, "AI's Move: ");
	}
	else {
		strcpy(prevMove, "Last Move: ");
	}
	prevMove[11] = s[0] + 'A' - 'a';
	prevMove[12] = s[1];
	prevMove[13] = '-';
	prevMove[14] = s[2] + 'A' - 'a';
	prevMove[15] = s[3];
	prevMove[16] = '\0';

	moveToLCD();
}

void moveToLCD(void) {
	switch(curSide) {
	case White:
		writeLCDMessage("  White's Turn  ", prevMove);
		break;
	case Black:
		writeLCDMessage("  Black's Turn  ", prevMove);
		break;
	default:
		writeLCDMessage("Error", "No Side Set");
		break;
	}
	return;
}

char pawnPromote(void) {
	char type;

	type = LCDMenu(pawnPromoteMenu, 4);
	switch(type) {
	case 1:
		type = 'Q';
		break;
	case 2:
		type = 'N';
		break;
	case 3:
		type = 'R';
		break;
	case 4:
		type = 'B';
		break;
	default:
		type = 'Q';
		break;
	}

	return type;
}

void boardSetup(void) {
	B blank;
	B setup;
	char missing;
	M diff;
	M diffMissing;

	if (SKIP_SETUP_HELP) return; // Global override

	buttonFlag[3] = 0;
	blankBoard(blank);
	defaultBoard(setup);
	blankColors(colors);
	while (1) {
		// Scan
		RFIDInit();
		updateBoard(curBoard);
		diffBoards(curBoard, setup, diff);
		diffBoards(curBoard, blank, diffMissing);
		updateColors(colors);
		printBoard(curBoard);

		// Largest Missing Piece
		missing = 0;
		for (int j = 0; j < 8; j++) {
			for (int i = 0; i < 8; i++) {
				if (diff[j][i]) {
					if ((setup[j][i].type == 'K') || (missing == 'K')) {
						missing = 'K';
					}
					else if ((setup[j][i].type == 'Q') || (missing == 'Q')) {
						missing = 'Q';
					}
					else if ((setup[j][i].type == 'B') || (missing == 'B')) {
						missing = 'B';
					}
					else if ((setup[j][i].type == 'N') || (missing == 'N')) {
						missing = 'N';
					}
					else if ((setup[j][i].type == 'R') || (missing == 'R')) {
						missing = 'R';
					}
					else if ((setup[j][i].type == 'P') || (missing == 'P')) {
						missing = 'P';
					}
				}
			}
		}
		if (!missing) break;

		// LCD Message
		switch(missing) {
		case 'K':
			writeLCDMessage("< White  Black >", "  Place Kings   ");
			break;
		case 'Q':
			writeLCDMessage("< White  Black >", "  Place Queens  ");
			break;
		case 'B':
			writeLCDMessage("< White  Black >", " Place Bishops  ");
			break;
		case 'N':
			writeLCDMessage("< White  Black >", " Place Knights  ");
			break;
		case 'R':
			writeLCDMessage("< White  Black >", "  Place Rooks   ");
			break;
		case 'P':
			writeLCDMessage("< White  Black >", "  Place Pawns   ");
			break;
		default:
			break;
		}

		// Board Colors
		blankColors(colors);
		for (int j = 0; j < 8; j++) {
			for (int i = 0; i < 8; i++) {
				if (diff[j][i] && diffMissing[j][i]) {
					colors[j][i] = COLOR_ERROR;
				}
				else if (diff[j][i] && setup[j][i].type == missing) {
					colors[j][i] = COLOR_ACCEPTED;
				}
			}
		}
	}

	blankColors(colors);
	updateColors(colors);
	writeLCDInstruction(LCDCLR);
	return;
}

/* USER CODE END 4 */

void Error_Handler(void)
{
  /* USER CODE BEGIN Error_Handler_Debug */
  /* User can add his own implementation to report the HAL error return state */
	Print("ERROR HANDLER CALLED!\nSomething went very wrong.\n");
  /* USER CODE END Error_Handler_Debug */
}

/************************ (C) COPYRIGHT STMicroelectronics *****END OF FILE****/
